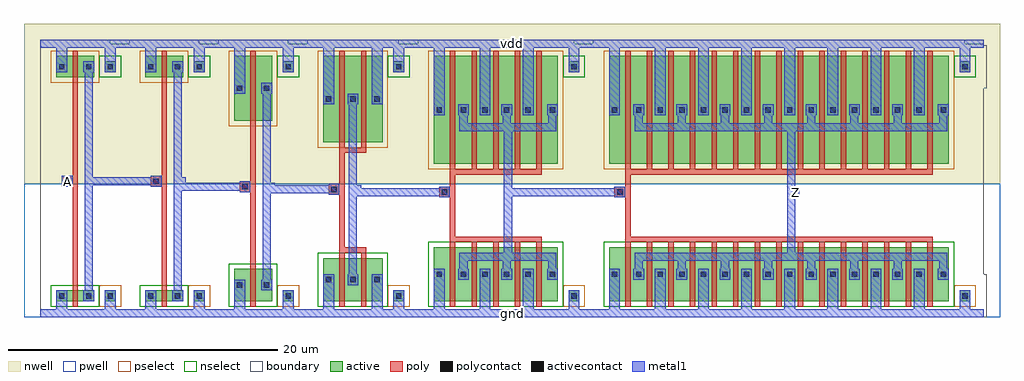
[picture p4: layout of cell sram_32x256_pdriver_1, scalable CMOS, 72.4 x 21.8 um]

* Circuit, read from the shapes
.subckt sram_32x256_pdriver_1 A Z gnd vdd
M1 sram_32x256_pinv_1_1/A A gnd gnd nfet w=0.8u l=0.4u
M2 sram_32x256_pinv_8_2/A sram_32x256_pinv_1_1/A gnd gnd nfet w=0.8u l=0.4u
M3 sram_32x256_pinv_9_3/A sram_32x256_pinv_8_2/A gnd gnd nfet w=2.4u l=0.4u
M4 sram_32x256_pinv_10_4/A sram_32x256_pinv_9_3/A gnd gnd nfet w=3.2u l=0.4u m=2
M5 sram_32x256_pinv_11_5/A sram_32x256_pinv_10_4/A gnd gnd nfet w=4u l=0.4u m=5
M6 Z sram_32x256_pinv_11_5/A gnd gnd nfet w=4u l=0.4u m=15
M7 sram_32x256_pinv_1_1/A A vdd vdd pfet w=1.6u l=0.4u
M8 sram_32x256_pinv_8_2/A sram_32x256_pinv_1_1/A vdd vdd pfet w=1.6u l=0.4u
M9 sram_32x256_pinv_9_3/A sram_32x256_pinv_8_2/A vdd vdd pfet w=4.8u l=0.4u
M10 sram_32x256_pinv_10_4/A sram_32x256_pinv_9_3/A vdd vdd pfet w=6.4u l=0.4u m=2
M11 sram_32x256_pinv_11_5/A sram_32x256_pinv_10_4/A vdd vdd pfet w=8u l=0.4u m=5
M12 Z sram_32x256_pinv_11_5/A vdd vdd pfet w=8u l=0.4u m=15
.ends

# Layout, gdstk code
import gdstk
lib = gdstk.Library(unit=1e-6, precision=1e-09)
def R(c, l, rs):  # rectangles x0, y0, x1, y1
    for r in rs: c.add(gdstk.rectangle(r[:2], r[2:], *l))
def A(c, l, x, y, w, h, nx, ny, dx, dy):  # array of equal rectangles
    R(c, l, [(x+i*dx, y+j*dy, x+i*dx+w, y+j*dy+h) for i in range(nx) for j in range(ny)])
pwell = (41, 0)
nwell = (42, 0)
active = (43, 0)
pselect = (44, 0)
nselect = (45, 0)
poly = (46, 0)
polycontact = (47, 0)
activecontact = (48, 0)
metal1 = (49, 0)
boundary = (63, 0)

sram_32x256_contact_12 = lib.new_cell('sram_32x256_contact_12')
R(sram_32x256_contact_12, nwell, [(-1.2,-1.2,2,2)])
R(sram_32x256_contact_12, active, [(0,0,0.8,0.8)])
R(sram_32x256_contact_12, pselect, [(-0.4,-0.4,1.2,1.2)])
R(sram_32x256_contact_12, activecontact, [(0.2,0.2,0.6,0.6)])
R(sram_32x256_contact_12, metal1, [(0,0,0.8,0.8)])
R(sram_32x256_contact_12, boundary, [(-1.2,-1.2,2,2)])

sram_32x256_pmos_m1_w1_6 = lib.new_cell('sram_32x256_pmos_m1_w1_600_sm1_dm1_da_p')
R(sram_32x256_pmos_m1_w1_6, nwell, [(-1.2,-1.2,4,2.8)])
R(sram_32x256_pmos_m1_w1_6, active, [(0,0,2.8,1.6)])
R(sram_32x256_pmos_m1_w1_6, pselect, [(-0.4,-0.4,3.2,2)])
R(sram_32x256_pmos_m1_w1_6, poly, [(1.2,-0.4,1.6,2), (1.2,-0.4,1.6,2)])
R(sram_32x256_pmos_m1_w1_6, metal1, [(0,0.4,0.8,1.2), (2,0.4,2.8,1.2)])
R(sram_32x256_pmos_m1_w1_6, boundary, [(-1.2,-1.2,4,2.8)])
sram_32x256_pmos_m1_w1_6.add(gdstk.Reference(sram_32x256_contact_12, (0,0.4)))
sram_32x256_pmos_m1_w1_6.add(gdstk.Reference(sram_32x256_contact_12, (2,0.4)))
sram_32x256_pmos_m1_w1_6.add(gdstk.Label('G', (1.4,0.8), layer=46, texttype=0))
sram_32x256_pmos_m1_w1_6.add(gdstk.Label('S', (0.4,0.8), layer=49, texttype=0))
sram_32x256_pmos_m1_w1_6.add(gdstk.Label('D', (2.4,0.8), layer=49, texttype=0))

sram_32x256_contact_11 = lib.new_cell('sram_32x256_contact_11')
R(sram_32x256_contact_11, pwell, [(-1.2,-1.2,2,2)])
R(sram_32x256_contact_11, active, [(0,0,0.8,0.8)])
R(sram_32x256_contact_11, nselect, [(-0.4,-0.4,1.2,1.2)])
R(sram_32x256_contact_11, activecontact, [(0.2,0.2,0.6,0.6)])
R(sram_32x256_contact_11, metal1, [(0,0,0.8,0.8)])
R(sram_32x256_contact_11, boundary, [(-1.2,-1.2,2,2)])

sram_32x256_nmos_m1_w0_8 = lib.new_cell('sram_32x256_nmos_m1_w0_800_sm1_dm1_da_p')
R(sram_32x256_nmos_m1_w0_8, pwell, [(-1.2,-1.2,4,2)])
R(sram_32x256_nmos_m1_w0_8, active, [(0,0,2.8,0.8)])
R(sram_32x256_nmos_m1_w0_8, nselect, [(-0.4,-0.4,3.2,1.2)])
R(sram_32x256_nmos_m1_w0_8, poly, [(1.2,-0.4,1.6,1.2), (1.2,-0.4,1.6,1.2)])
R(sram_32x256_nmos_m1_w0_8, metal1, [(0,0,0.8,0.8), (2,0,2.8,0.8)])
R(sram_32x256_nmos_m1_w0_8, boundary, [(-1.2,-1.2,4,2)])
sram_32x256_nmos_m1_w0_8.add(gdstk.Reference(sram_32x256_contact_11, (0,0)))
sram_32x256_nmos_m1_w0_8.add(gdstk.Reference(sram_32x256_contact_11, (2,0)))
sram_32x256_nmos_m1_w0_8.add(gdstk.Label('G', (1.4,0.4), layer=46, texttype=0))
sram_32x256_nmos_m1_w0_8.add(gdstk.Label('S', (0.4,0.4), layer=49, texttype=0))
sram_32x256_nmos_m1_w0_8.add(gdstk.Label('D', (2.4,0.4), layer=49, texttype=0))

sram_32x256_contact_13 = lib.new_cell('sram_32x256_contact_13')
R(sram_32x256_contact_13, nwell, [(-1.2,-1.2,2,2)])
R(sram_32x256_contact_13, active, [(0,0,0.8,0.8)])
R(sram_32x256_contact_13, nselect, [(-0.4,-0.4,1.2,1.2)])
R(sram_32x256_contact_13, activecontact, [(0.2,0.2,0.6,0.6)])
R(sram_32x256_contact_13, metal1, [(0,0,0.8,0.8)])
R(sram_32x256_contact_13, boundary, [(-1.2,-1.2,2,2)])

sram_32x256_contact_14 = lib.new_cell('sram_32x256_contact_14')
R(sram_32x256_contact_14, pwell, [(-1.2,-1.2,2,2)])
R(sram_32x256_contact_14, active, [(0,0,0.8,0.8)])
R(sram_32x256_contact_14, pselect, [(-0.4,-0.4,1.2,1.2)])
R(sram_32x256_contact_14, activecontact, [(0.2,0.2,0.6,0.6)])
R(sram_32x256_contact_14, metal1, [(0,0,0.8,0.8)])
R(sram_32x256_contact_14, boundary, [(-1.2,-1.2,2,2)])

sram_32x256_contact_15 = lib.new_cell('sram_32x256_contact_15')
R(sram_32x256_contact_15, poly, [(0,0,0.8,0.8)])
R(sram_32x256_contact_15, polycontact, [(0.2,0.2,0.6,0.6)])
R(sram_32x256_contact_15, metal1, [(0,0,0.8,0.8)])
R(sram_32x256_contact_15, boundary, [(0,0,0.8,0.8)])

sram_32x256_pinv_1 = lib.new_cell('sram_32x256_pinv_1')
R(sram_32x256_pinv_1, pwell, [(-1.2,-0.3,7.8,9.6)])
R(sram_32x256_pinv_1, nwell, [(-1.2,9.6,7.8,21.5)])
R(sram_32x256_pinv_1, poly, [(2.4,2.1,2.8,17.1), (2,9.4,2.4,10.2)])
R(sram_32x256_pinv_1, metal1, [(0,-0.3,6.6,0.3), (1.2,-0.3,2,0.9), (4.8,0,5.6,1.3), (3.3,0.9,3.9,18.7), (1.6,9.4,2.4,10.2), (3.6,9.5,4.2,10.1), (1.2,17.9,2,20.3), (4.8,18.3,5.6,20), (0,19.7,6.6,20.3)])
R(sram_32x256_pinv_1, boundary, [(0,0,6.6,20), (0,0,6.6,20)])
sram_32x256_pinv_1.add(gdstk.Reference(sram_32x256_pmos_m1_w1_6, (1.2,17.5)))
sram_32x256_pinv_1.add(gdstk.Reference(sram_32x256_nmos_m1_w0_8, (1.2,0.9)))
sram_32x256_pinv_1.add(gdstk.Reference(sram_32x256_contact_13, (4.8,17.9)))
sram_32x256_pinv_1.add(gdstk.Reference(sram_32x256_contact_14, (4.8,0.9)))
sram_32x256_pinv_1.add(gdstk.Reference(sram_32x256_contact_15, (1.6,9.4)))
sram_32x256_pinv_1.add(gdstk.Label('A', (2,9.8), layer=49, texttype=0))
sram_32x256_pinv_1.add(gdstk.Label('Z', (3.9,9.8), layer=49, texttype=0))
sram_32x256_pinv_1.add(gdstk.Label('gnd', (3.3,0), layer=49, texttype=0))
sram_32x256_pinv_1.add(gdstk.Label('vdd', (3.3,20), layer=49, texttype=0))

sram_32x256_pmos_m1_w4_8 = lib.new_cell('sram_32x256_pmos_m1_w4_800_sm1_dm1_da_p')
R(sram_32x256_pmos_m1_w4_8, nwell, [(-1.2,-1.2,4,6)])
R(sram_32x256_pmos_m1_w4_8, active, [(0,0,2.8,4.8)])
R(sram_32x256_pmos_m1_w4_8, pselect, [(-0.4,-0.4,3.2,5.2)])
R(sram_32x256_pmos_m1_w4_8, poly, [(1.2,-0.4,1.6,5.2), (1.2,-0.4,1.6,5.2)])
R(sram_32x256_pmos_m1_w4_8, metal1, [(0,2,0.8,2.8), (2,2,2.8,2.8)])
R(sram_32x256_pmos_m1_w4_8, boundary, [(-1.2,-1.2,4,6)])
sram_32x256_pmos_m1_w4_8.add(gdstk.Reference(sram_32x256_contact_12, (0,2)))
sram_32x256_pmos_m1_w4_8.add(gdstk.Reference(sram_32x256_contact_12, (2,2)))
sram_32x256_pmos_m1_w4_8.add(gdstk.Label('G', (1.4,2.4), layer=46, texttype=0))
sram_32x256_pmos_m1_w4_8.add(gdstk.Label('S', (0.4,2.4), layer=49, texttype=0))
sram_32x256_pmos_m1_w4_8.add(gdstk.Label('D', (2.4,2.4), layer=49, texttype=0))

sram_32x256_nmos_m1_w2_4 = lib.new_cell('sram_32x256_nmos_m1_w2_400_sm1_dm1_da_p')
R(sram_32x256_nmos_m1_w2_4, pwell, [(-1.2,-1.2,4,3.6)])
R(sram_32x256_nmos_m1_w2_4, active, [(0,0,2.8,2.4)])
R(sram_32x256_nmos_m1_w2_4, nselect, [(-0.4,-0.4,3.2,2.8)])
R(sram_32x256_nmos_m1_w2_4, poly, [(1.2,-0.4,1.6,2.8), (1.2,-0.4,1.6,2.8)])
R(sram_32x256_nmos_m1_w2_4, metal1, [(0,0.8,0.8,1.6), (2,0.8,2.8,1.6)])
R(sram_32x256_nmos_m1_w2_4, boundary, [(-1.2,-1.2,4,3.6)])
sram_32x256_nmos_m1_w2_4.add(gdstk.Reference(sram_32x256_contact_11, (0,0.8)))
sram_32x256_nmos_m1_w2_4.add(gdstk.Reference(sram_32x256_contact_11, (2,0.8)))
sram_32x256_nmos_m1_w2_4.add(gdstk.Label('G', (1.4,1.2), layer=46, texttype=0))
sram_32x256_nmos_m1_w2_4.add(gdstk.Label('S', (0.4,1.2), layer=49, texttype=0))
sram_32x256_nmos_m1_w2_4.add(gdstk.Label('D', (2.4,1.2), layer=49, texttype=0))

sram_32x256_pinv_8 = lib.new_cell('sram_32x256_pinv_8')
R(sram_32x256_pinv_8, pwell, [(-1.2,-0.3,7.8,9.6)])
R(sram_32x256_pinv_8, nwell, [(-1.2,9.6,7.8,21.5)])
R(sram_32x256_pinv_8, poly, [(2.4,3.7,2.8,13.9), (2,9,2.4,9.8)])
R(sram_32x256_pinv_8, metal1, [(0,-0.3,6.6,0.3), (1.2,-0.3,2,1.7), (4.8,0,5.6,1.3), (3.3,1.7,3.9,17.1), (1.6,9,2.4,9.8), (3.6,9.1,4.2,9.7), (1.2,16.3,2,20.3), (4.8,18.3,5.6,20), (0,19.7,6.6,20.3)])
R(sram_32x256_pinv_8, boundary, [(0,0,6.6,20), (0,0,6.6,20)])
sram_32x256_pinv_8.add(gdstk.Reference(sram_32x256_pmos_m1_w4_8, (1.2,14.3)))
sram_32x256_pinv_8.add(gdstk.Reference(sram_32x256_nmos_m1_w2_4, (1.2,0.9)))
sram_32x256_pinv_8.add(gdstk.Reference(sram_32x256_contact_13, (4.8,17.9)))
sram_32x256_pinv_8.add(gdstk.Reference(sram_32x256_contact_14, (4.8,0.9)))
sram_32x256_pinv_8.add(gdstk.Reference(sram_32x256_contact_15, (1.6,9)))
sram_32x256_pinv_8.add(gdstk.Label('A', (2,9.4), layer=49, texttype=0))
sram_32x256_pinv_8.add(gdstk.Label('Z', (3.9,9.4), layer=49, texttype=0))
sram_32x256_pinv_8.add(gdstk.Label('gnd', (3.3,0), layer=49, texttype=0))
sram_32x256_pinv_8.add(gdstk.Label('vdd', (3.3,20), layer=49, texttype=0))

sram_32x256_pmos_m2_w6_4 = lib.new_cell('sram_32x256_pmos_m2_w6_400_sm1_dm1_da_p')
R(sram_32x256_pmos_m2_w6_4, nwell, [(-1.2,-1.2,5.6,7.6)])
R(sram_32x256_pmos_m2_w6_4, active, [(0,0,4.4,6.4)])
R(sram_32x256_pmos_m2_w6_4, pselect, [(-0.4,-0.4,4.8,6.8)])
R(sram_32x256_pmos_m2_w6_4, poly, [(1.2,-0.8,3.2,-0.4), (1.2,-0.4,1.6,6.8), (2.8,-0.4,3.2,6.8)])
A(sram_32x256_pmos_m2_w6_4, metal1, 0, 2.8, 0.8, 0.8, 3, 1, 1.8, 0)
R(sram_32x256_pmos_m2_w6_4, boundary, [(-1.2,-1.2,5.6,7.6)])
sram_32x256_pmos_m2_w6_4.add(gdstk.Reference(sram_32x256_contact_12, (0,2.8)))
sram_32x256_pmos_m2_w6_4.add(gdstk.Reference(sram_32x256_contact_12, (1.8,2.8)))
sram_32x256_pmos_m2_w6_4.add(gdstk.Reference(sram_32x256_contact_12, (3.6,2.8)))
sram_32x256_pmos_m2_w6_4.add(gdstk.Label('G', (2.2,-0.6), layer=46, texttype=0))
sram_32x256_pmos_m2_w6_4.add(gdstk.Label('S', (4,3.2), layer=49, texttype=0))
sram_32x256_pmos_m2_w6_4.add(gdstk.Label('S', (0.4,3.2), layer=49, texttype=0))
sram_32x256_pmos_m2_w6_4.add(gdstk.Label('D', (2.2,3.2), layer=49, texttype=0))

sram_32x256_nmos_m2_w3_2 = lib.new_cell('sram_32x256_nmos_m2_w3_200_sm1_dm1_da_p')
R(sram_32x256_nmos_m2_w3_2, pwell, [(-1.2,-1.2,5.6,4.4)])
R(sram_32x256_nmos_m2_w3_2, active, [(0,0,4.4,3.2)])
R(sram_32x256_nmos_m2_w3_2, nselect, [(-0.4,-0.4,4.8,3.6)])
R(sram_32x256_nmos_m2_w3_2, poly, [(1.2,-0.4,1.6,3.6), (2.8,-0.4,3.2,3.6), (1.2,3.6,3.2,4)])
A(sram_32x256_nmos_m2_w3_2, metal1, 0, 1.2, 0.8, 0.8, 3, 1, 1.8, 0)
R(sram_32x256_nmos_m2_w3_2, boundary, [(-1.2,-1.2,5.6,4.4)])
sram_32x256_nmos_m2_w3_2.add(gdstk.Reference(sram_32x256_contact_11, (0,1.2)))
sram_32x256_nmos_m2_w3_2.add(gdstk.Reference(sram_32x256_contact_11, (1.8,1.2)))
sram_32x256_nmos_m2_w3_2.add(gdstk.Reference(sram_32x256_contact_11, (3.6,1.2)))
sram_32x256_nmos_m2_w3_2.add(gdstk.Label('G', (2.2,3.8), layer=46, texttype=0))
sram_32x256_nmos_m2_w3_2.add(gdstk.Label('S', (0.4,1.6), layer=49, texttype=0))
sram_32x256_nmos_m2_w3_2.add(gdstk.Label('S', (4,1.6), layer=49, texttype=0))
sram_32x256_nmos_m2_w3_2.add(gdstk.Label('D', (2.2,1.6), layer=49, texttype=0))

sram_32x256_pinv_9 = lib.new_cell('sram_32x256_pinv_9')
R(sram_32x256_pinv_9, pwell, [(-1.2,-0.3,9.4,9.6)])
R(sram_32x256_pinv_9, nwell, [(-1.2,9.6,9.4,21.5)])
R(sram_32x256_pinv_9, poly, [(2.4,4.9,2.8,11.9), (2,8.8,2.4,9.6)])
R(sram_32x256_pinv_9, metal1, [(0,-0.3,8.2,0.3), (1.2,-0.3,2,2.1), (4.8,-0.3,5.6,2.1), (6.4,0,7.2,1.3), (3.1,2.1,3.7,16.3), (1.6,8.8,2.4,9.6), (3.4,8.9,4,9.5), (1.2,15.5,2,20.3), (4.8,15.5,5.6,20.3), (6.4,18.3,7.2,20), (0,19.7,8.2,20.3)])
R(sram_32x256_pinv_9, boundary, [(0,0,8.2,20), (0,0,8.2,20)])
sram_32x256_pinv_9.add(gdstk.Reference(sram_32x256_pmos_m2_w6_4, (1.2,12.7)))
sram_32x256_pinv_9.add(gdstk.Reference(sram_32x256_nmos_m2_w3_2, (1.2,0.9)))
sram_32x256_pinv_9.add(gdstk.Reference(sram_32x256_contact_13, (6.4,17.9)))
sram_32x256_pinv_9.add(gdstk.Reference(sram_32x256_contact_14, (6.4,0.9)))
sram_32x256_pinv_9.add(gdstk.Reference(sram_32x256_contact_15, (1.6,8.8)))
sram_32x256_pinv_9.add(gdstk.Label('A', (2,9.2), layer=49, texttype=0))
sram_32x256_pinv_9.add(gdstk.Label('Z', (3.7,9.2), layer=49, texttype=0))
sram_32x256_pinv_9.add(gdstk.Label('gnd', (4.1,0), layer=49, texttype=0))
sram_32x256_pinv_9.add(gdstk.Label('vdd', (4.1,20), layer=49, texttype=0))

sram_32x256_pmos_m5_w8_0 = lib.new_cell('sram_32x256_pmos_m5_w8_000_sm1_dm1_da_p')
R(sram_32x256_pmos_m5_w8_0, nwell, [(-1.2,-1.2,10.4,9.2)])
R(sram_32x256_pmos_m5_w8_0, active, [(0,0,9.2,8)])
R(sram_32x256_pmos_m5_w8_0, pselect, [(-0.4,-0.4,9.6,8.4)])
A(sram_32x256_pmos_m5_w8_0, poly, 1.2, -0.4, 0.4, 8.8, 5, 1, 1.6, 0)
R(sram_32x256_pmos_m5_w8_0, poly, [(1.2,-0.8,8,-0.4)])
R(sram_32x256_pmos_m5_w8_0, metal1, [(1.9,2.4,9.1,3), (1.9,2.7,2.5,4), (5.1,2.7,5.7,4), (8.5,2.7,9.1,4), (0,3.6,0.8,4.4), (3.4,3.6,4.2,4.4), (6.6,3.6,7.4,4.4)])
R(sram_32x256_pmos_m5_w8_0, boundary, [(-1.2,-1.2,10.4,9.2)])
sram_32x256_pmos_m5_w8_0.add(gdstk.Reference(sram_32x256_contact_12, (0,3.6)))
sram_32x256_pmos_m5_w8_0.add(gdstk.Reference(sram_32x256_contact_12, (1.8,3.6)))
sram_32x256_pmos_m5_w8_0.add(gdstk.Reference(sram_32x256_contact_12, (3.4,3.6)))
sram_32x256_pmos_m5_w8_0.add(gdstk.Reference(sram_32x256_contact_12, (5,3.6)))
sram_32x256_pmos_m5_w8_0.add(gdstk.Reference(sram_32x256_contact_12, (6.6,3.6)))
sram_32x256_pmos_m5_w8_0.add(gdstk.Reference(sram_32x256_contact_12, (8.4,3.6)))
sram_32x256_pmos_m5_w8_0.add(gdstk.Label('G', (4.6,-0.6), layer=46, texttype=0))
sram_32x256_pmos_m5_w8_0.add(gdstk.Label('S', (7,4), layer=49, texttype=0))
sram_32x256_pmos_m5_w8_0.add(gdstk.Label('S', (3.8,4), layer=49, texttype=0))
sram_32x256_pmos_m5_w8_0.add(gdstk.Label('S', (0.4,4), layer=49, texttype=0))
sram_32x256_pmos_m5_w8_0.add(gdstk.Label('D', (5.5,2.7), layer=49, texttype=0))

sram_32x256_nmos_m5_w4_0 = lib.new_cell('sram_32x256_nmos_m5_w4_000_sm1_dm1_da_p')
R(sram_32x256_nmos_m5_w4_0, pwell, [(-1.2,-1.2,10.4,5.2)])
R(sram_32x256_nmos_m5_w4_0, active, [(0,0,9.2,4)])
R(sram_32x256_nmos_m5_w4_0, nselect, [(-0.4,-0.4,9.6,4.4)])
A(sram_32x256_nmos_m5_w4_0, poly, 1.2, -0.4, 0.4, 4.8, 5, 1, 1.6, 0)
R(sram_32x256_nmos_m5_w4_0, poly, [(1.2,4.4,8,4.8)])
R(sram_32x256_nmos_m5_w4_0, metal1, [(0,1.6,0.8,2.4), (3.4,1.6,4.2,2.4), (6.6,1.6,7.4,2.4), (1.9,2,2.5,3.3), (5.1,2,5.7,3.3), (8.5,2,9.1,3.3), (1.9,3,9.1,3.6)])
R(sram_32x256_nmos_m5_w4_0, boundary, [(-1.2,-1.2,10.4,5.2)])
sram_32x256_nmos_m5_w4_0.add(gdstk.Reference(sram_32x256_contact_11, (0,1.6)))
sram_32x256_nmos_m5_w4_0.add(gdstk.Reference(sram_32x256_contact_11, (1.8,1.6)))
sram_32x256_nmos_m5_w4_0.add(gdstk.Reference(sram_32x256_contact_11, (3.4,1.6)))
sram_32x256_nmos_m5_w4_0.add(gdstk.Reference(sram_32x256_contact_11, (5,1.6)))
sram_32x256_nmos_m5_w4_0.add(gdstk.Reference(sram_32x256_contact_11, (6.6,1.6)))
sram_32x256_nmos_m5_w4_0.add(gdstk.Reference(sram_32x256_contact_11, (8.4,1.6)))
sram_32x256_nmos_m5_w4_0.add(gdstk.Label('G', (4.6,4.6), layer=46, texttype=0))
sram_32x256_nmos_m5_w4_0.add(gdstk.Label('S', (7,2), layer=49, texttype=0))
sram_32x256_nmos_m5_w4_0.add(gdstk.Label('S', (0.4,2), layer=49, texttype=0))
sram_32x256_nmos_m5_w4_0.add(gdstk.Label('S', (3.8,2), layer=49, texttype=0))
sram_32x256_nmos_m5_w4_0.add(gdstk.Label('D', (5.5,3.3), layer=49, texttype=0))

sram_32x256_pinv_10 = lib.new_cell('sram_32x256_pinv_10')
R(sram_32x256_pinv_10, pwell, [(-1.2,-0.3,14.2,9.6)])
R(sram_32x256_pinv_10, nwell, [(-1.2,9.6,14.2,21.5)])
R(sram_32x256_pinv_10, poly, [(2.4,5.7,2.8,10.3), (2,8.6,2.4,9.4)])
R(sram_32x256_pinv_10, metal1, [(0,-0.3,13,0.3), (1.2,-0.3,2,2.5), (4.6,-0.3,5.4,2.5), (7.8,-0.3,8.6,2.5), (11.2,0,12,1.3), (6.4,3.9,7,14.1), (1.6,8.6,2.4,9.4), (6.7,8.7,7.3,9.3), (1.2,14.7,2,20.3), (4.6,14.7,5.4,20.3), (7.8,14.7,8.6,20.3), (11.2,18.3,12,20), (0,19.7,13,20.3)])
R(sram_32x256_pinv_10, boundary, [(0,0,13,20), (0,0,13,20)])
sram_32x256_pinv_10.add(gdstk.Reference(sram_32x256_pmos_m5_w8_0, (1.2,11.1)))
sram_32x256_pinv_10.add(gdstk.Reference(sram_32x256_nmos_m5_w4_0, (1.2,0.9)))
sram_32x256_pinv_10.add(gdstk.Reference(sram_32x256_contact_13, (11.2,17.9)))
sram_32x256_pinv_10.add(gdstk.Reference(sram_32x256_contact_14, (11.2,0.9)))
sram_32x256_pinv_10.add(gdstk.Reference(sram_32x256_contact_15, (1.6,8.6)))
sram_32x256_pinv_10.add(gdstk.Label('A', (2,9), layer=49, texttype=0))
sram_32x256_pinv_10.add(gdstk.Label('Z', (7,9), layer=49, texttype=0))
sram_32x256_pinv_10.add(gdstk.Label('gnd', (6.5,0), layer=49, texttype=0))
sram_32x256_pinv_10.add(gdstk.Label('vdd', (6.5,20), layer=49, texttype=0))

sram_32x256_pmos_m15_w8_ = lib.new_cell('sram_32x256_pmos_m15_w8_000_sm1_dm1_da_p')
R(sram_32x256_pmos_m15_w8_, nwell, [(-1.2,-1.2,26.4,9.2)])
R(sram_32x256_pmos_m15_w8_, active, [(0,0,25.2,8)])
R(sram_32x256_pmos_m15_w8_, pselect, [(-0.4,-0.4,25.6,8.4)])
A(sram_32x256_pmos_m15_w8_, poly, 1.2, -0.4, 0.4, 8.8, 15, 1, 1.6, 0)
R(sram_32x256_pmos_m15_w8_, poly, [(1.2,-0.8,24,-0.4)])
A(sram_32x256_pmos_m15_w8_, metal1, 1.9, 2.7, 0.6, 1.3, 7, 1, 3.2, 0)
A(sram_32x256_pmos_m15_w8_, metal1, 3.4, 3.6, 0.8, 0.8, 7, 1, 3.2, 0)
R(sram_32x256_pmos_m15_w8_, metal1, [(1.9,2.4,25.1,3), (24.5,2.7,25.1,4), (0,3.6,0.8,4.4)])
R(sram_32x256_pmos_m15_w8_, boundary, [(-1.2,-1.2,26.4,9.2)])
sram_32x256_pmos_m15_w8_.add(gdstk.Reference(sram_32x256_contact_12, (0,3.6)))
sram_32x256_pmos_m15_w8_.add(gdstk.Reference(sram_32x256_contact_12, (1.8,3.6)))
sram_32x256_pmos_m15_w8_.add(gdstk.Reference(sram_32x256_contact_12, (3.4,3.6)))
sram_32x256_pmos_m15_w8_.add(gdstk.Reference(sram_32x256_contact_12, (5,3.6)))
sram_32x256_pmos_m15_w8_.add(gdstk.Reference(sram_32x256_contact_12, (6.6,3.6)))
sram_32x256_pmos_m15_w8_.add(gdstk.Reference(sram_32x256_contact_12, (8.2,3.6)))
sram_32x256_pmos_m15_w8_.add(gdstk.Reference(sram_32x256_contact_12, (9.8,3.6)))
sram_32x256_pmos_m15_w8_.add(gdstk.Reference(sram_32x256_contact_12, (11.4,3.6)))
sram_32x256_pmos_m15_w8_.add(gdstk.Reference(sram_32x256_contact_12, (13,3.6)))
sram_32x256_pmos_m15_w8_.add(gdstk.Reference(sram_32x256_contact_12, (14.6,3.6)))
sram_32x256_pmos_m15_w8_.add(gdstk.Reference(sram_32x256_contact_12, (16.2,3.6)))
sram_32x256_pmos_m15_w8_.add(gdstk.Reference(sram_32x256_contact_12, (17.8,3.6)))
sram_32x256_pmos_m15_w8_.add(gdstk.Reference(sram_32x256_contact_12, (19.4,3.6)))
sram_32x256_pmos_m15_w8_.add(gdstk.Reference(sram_32x256_contact_12, (21,3.6)))
sram_32x256_pmos_m15_w8_.add(gdstk.Reference(sram_32x256_contact_12, (22.6,3.6)))
sram_32x256_pmos_m15_w8_.add(gdstk.Reference(sram_32x256_contact_12, (24.4,3.6)))
sram_32x256_pmos_m15_w8_.add(gdstk.Label('G', (12.6,-0.6), layer=46, texttype=0))
sram_32x256_pmos_m15_w8_.add(gdstk.Label('S', (23,4), layer=49, texttype=0))
sram_32x256_pmos_m15_w8_.add(gdstk.Label('S', (0.4,4), layer=49, texttype=0))
sram_32x256_pmos_m15_w8_.add(gdstk.Label('S', (16.6,4), layer=49, texttype=0))
sram_32x256_pmos_m15_w8_.add(gdstk.Label('S', (10.2,4), layer=49, texttype=0))
sram_32x256_pmos_m15_w8_.add(gdstk.Label('S', (3.8,4), layer=49, texttype=0))
sram_32x256_pmos_m15_w8_.add(gdstk.Label('S', (13.4,4), layer=49, texttype=0))
sram_32x256_pmos_m15_w8_.add(gdstk.Label('S', (7,4), layer=49, texttype=0))
sram_32x256_pmos_m15_w8_.add(gdstk.Label('S', (19.8,4), layer=49, texttype=0))
sram_32x256_pmos_m15_w8_.add(gdstk.Label('D', (13.5,2.7), layer=49, texttype=0))

sram_32x256_nmos_m15_w4_ = lib.new_cell('sram_32x256_nmos_m15_w4_000_sm1_dm1_da_p')
R(sram_32x256_nmos_m15_w4_, pwell, [(-1.2,-1.2,26.4,5.2)])
R(sram_32x256_nmos_m15_w4_, active, [(0,0,25.2,4)])
R(sram_32x256_nmos_m15_w4_, nselect, [(-0.4,-0.4,25.6,4.4)])
A(sram_32x256_nmos_m15_w4_, poly, 1.2, -0.4, 0.4, 4.8, 15, 1, 1.6, 0)
R(sram_32x256_nmos_m15_w4_, poly, [(1.2,4.4,24,4.8)])
A(sram_32x256_nmos_m15_w4_, metal1, 3.4, 1.6, 0.8, 0.8, 7, 1, 3.2, 0)
A(sram_32x256_nmos_m15_w4_, metal1, 1.9, 2, 0.6, 1.3, 7, 1, 3.2, 0)
R(sram_32x256_nmos_m15_w4_, metal1, [(0,1.6,0.8,2.4), (24.5,2,25.1,3.3), (1.9,3,25.1,3.6)])
R(sram_32x256_nmos_m15_w4_, boundary, [(-1.2,-1.2,26.4,5.2)])
sram_32x256_nmos_m15_w4_.add(gdstk.Reference(sram_32x256_contact_11, (0,1.6)))
sram_32x256_nmos_m15_w4_.add(gdstk.Reference(sram_32x256_contact_11, (1.8,1.6)))
sram_32x256_nmos_m15_w4_.add(gdstk.Reference(sram_32x256_contact_11, (3.4,1.6)))
sram_32x256_nmos_m15_w4_.add(gdstk.Reference(sram_32x256_contact_11, (5,1.6)))
sram_32x256_nmos_m15_w4_.add(gdstk.Reference(sram_32x256_contact_11, (6.6,1.6)))
sram_32x256_nmos_m15_w4_.add(gdstk.Reference(sram_32x256_contact_11, (8.2,1.6)))
sram_32x256_nmos_m15_w4_.add(gdstk.Reference(sram_32x256_contact_11, (9.8,1.6)))
sram_32x256_nmos_m15_w4_.add(gdstk.Reference(sram_32x256_contact_11, (11.4,1.6)))
sram_32x256_nmos_m15_w4_.add(gdstk.Reference(sram_32x256_contact_11, (13,1.6)))
sram_32x256_nmos_m15_w4_.add(gdstk.Reference(sram_32x256_contact_11, (14.6,1.6)))
sram_32x256_nmos_m15_w4_.add(gdstk.Reference(sram_32x256_contact_11, (16.2,1.6)))
sram_32x256_nmos_m15_w4_.add(gdstk.Reference(sram_32x256_contact_11, (17.8,1.6)))
sram_32x256_nmos_m15_w4_.add(gdstk.Reference(sram_32x256_contact_11, (19.4,1.6)))
sram_32x256_nmos_m15_w4_.add(gdstk.Reference(sram_32x256_contact_11, (21,1.6)))
sram_32x256_nmos_m15_w4_.add(gdstk.Reference(sram_32x256_contact_11, (22.6,1.6)))
sram_32x256_nmos_m15_w4_.add(gdstk.Reference(sram_32x256_contact_11, (24.4,1.6)))
sram_32x256_nmos_m15_w4_.add(gdstk.Label('G', (12.6,4.6), layer=46, texttype=0))
sram_32x256_nmos_m15_w4_.add(gdstk.Label('S', (7,2), layer=49, texttype=0))
sram_32x256_nmos_m15_w4_.add(gdstk.Label('S', (13.4,2), layer=49, texttype=0))
sram_32x256_nmos_m15_w4_.add(gdstk.Label('S', (19.8,2), layer=49, texttype=0))
sram_32x256_nmos_m15_w4_.add(gdstk.Label('S', (23,2), layer=49, texttype=0))
sram_32x256_nmos_m15_w4_.add(gdstk.Label('S', (10.2,2), layer=49, texttype=0))
sram_32x256_nmos_m15_w4_.add(gdstk.Label('S', (3.8,2), layer=49, texttype=0))
sram_32x256_nmos_m15_w4_.add(gdstk.Label('S', (16.6,2), layer=49, texttype=0))
sram_32x256_nmos_m15_w4_.add(gdstk.Label('S', (0.4,2), layer=49, texttype=0))
sram_32x256_nmos_m15_w4_.add(gdstk.Label('D', (13.5,3.3), layer=49, texttype=0))

sram_32x256_pinv_11 = lib.new_cell('sram_32x256_pinv_11')
R(sram_32x256_pinv_11, pwell, [(-1.2,-0.3,30.2,9.6)])
R(sram_32x256_pinv_11, nwell, [(-1.2,9.6,30.2,21.5)])
R(sram_32x256_pinv_11, poly, [(2.4,5.7,2.8,10.3), (2,8.6,2.4,9.4)])
A(sram_32x256_pinv_11, metal1, 4.6, -0.3, 0.8, 2.8, 7, 1, 3.2, 0)
A(sram_32x256_pinv_11, metal1, 4.6, 14.7, 0.8, 5.6, 7, 1, 3.2, 0)
R(sram_32x256_pinv_11, metal1, [(0,-0.3,29,0.3), (1.2,-0.3,2,2.5), (27.2,0,28,1.3), (14.4,3.9,15,14.1), (1.6,8.6,2.4,9.4), (14.7,8.7,15.3,9.3), (1.2,14.7,2,20.3), (27.2,18.3,28,20), (0,19.7,29,20.3)])
R(sram_32x256_pinv_11, boundary, [(0,0,29,20), (0,0,29,20)])
sram_32x256_pinv_11.add(gdstk.Reference(sram_32x256_pmos_m15_w8_, (1.2,11.1)))
sram_32x256_pinv_11.add(gdstk.Reference(sram_32x256_nmos_m15_w4_, (1.2,0.9)))
sram_32x256_pinv_11.add(gdstk.Reference(sram_32x256_contact_13, (27.2,17.9)))
sram_32x256_pinv_11.add(gdstk.Reference(sram_32x256_contact_14, (27.2,0.9)))
sram_32x256_pinv_11.add(gdstk.Reference(sram_32x256_contact_15, (1.6,8.6)))
sram_32x256_pinv_11.add(gdstk.Label('A', (2,9), layer=49, texttype=0))
sram_32x256_pinv_11.add(gdstk.Label('Z', (15,9), layer=49, texttype=0))
sram_32x256_pinv_11.add(gdstk.Label('gnd', (14.5,0), layer=49, texttype=0))
sram_32x256_pinv_11.add(gdstk.Label('vdd', (14.5,20), layer=49, texttype=0))

sram_32x256_pdriver_1 = lib.new_cell('sram_32x256_pdriver_1')
R(sram_32x256_pdriver_1, pwell, [(-1.2,-0.3,71.2,9.6)])
R(sram_32x256_pdriver_1, nwell, [(-1.2,9.6,71.2,21.5)])
R(sram_32x256_pdriver_1, metal1, [(0,-0.3,70,0.3), (23.2,8.7,23.8,9.3), (23.5,8.7,30,9.3), (35,8.7,43,9.3), (55.7,8.7,56.3,9.3), (16.8,8.9,17.4,9.5), (17.1,8.9,21.8,9.5), (23.2,9,23.8,9.2), (10.2,9.1,10.8,9.7), (10.5,9.1,15.2,9.7), (16.8,9.2,17.4,9.4), (1.6,9.4,2.4,10.2), (10.2,9.4,10.8,9.8), (3.9,9.5,8.6,10.1), (0,19.7,70,20.3)])
R(sram_32x256_pdriver_1, boundary, [(0,0,70,20), (0,0,70,20)])
sram_32x256_pdriver_1.add(gdstk.Reference(sram_32x256_pinv_1, (0,0)))
sram_32x256_pdriver_1.add(gdstk.Reference(sram_32x256_pinv_1, (6.6,0)))
sram_32x256_pdriver_1.add(gdstk.Reference(sram_32x256_pinv_8, (13.2,0)))
sram_32x256_pdriver_1.add(gdstk.Reference(sram_32x256_pinv_9, (19.8,0)))
sram_32x256_pdriver_1.add(gdstk.Reference(sram_32x256_pinv_10, (28,0)))
sram_32x256_pdriver_1.add(gdstk.Reference(sram_32x256_pinv_11, (41,0)))
sram_32x256_pdriver_1.add(gdstk.Label('Z', (56,9), layer=49, texttype=0))
sram_32x256_pdriver_1.add(gdstk.Label('A', (2,9.8), layer=49, texttype=0))
sram_32x256_pdriver_1.add(gdstk.Label('gnd', (35,0), layer=49, texttype=0))
sram_32x256_pdriver_1.add(gdstk.Label('vdd', (35,20), layer=49, texttype=0))

lib.write_gds('sram_32x256_pdriver_1.gds')
